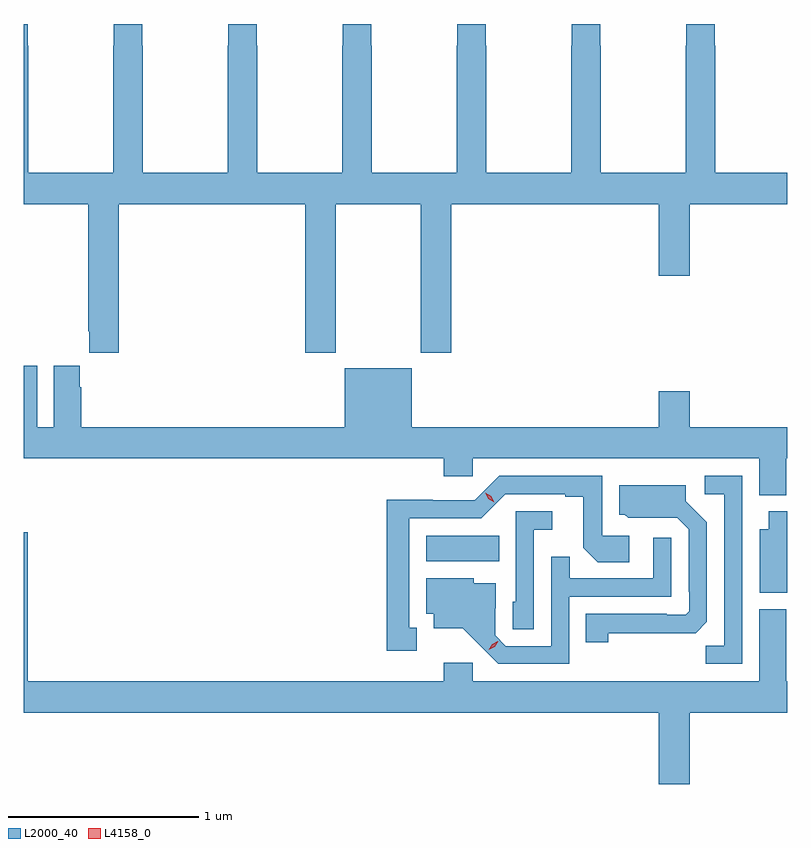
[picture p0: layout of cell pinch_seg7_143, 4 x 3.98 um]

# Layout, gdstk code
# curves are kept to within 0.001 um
import gdstk
lib = gdstk.Library(unit=1e-6, precision=1e-09)
def R(c, l, rs):  # rectangles x0, y0, x1, y1
    for r in rs: c.add(gdstk.rectangle(r[:2], r[2:], *l))
def P(c, l, *ps):  # polygons
    for p in ps: c.add(gdstk.Polygon(p, *l))
L2000_40 = (2000, 40)
L4158_0 = (4158, 0)

pinch_seg7_143 = lib.new_cell('pinch_seg7_143')
R(pinch_seg7_143, L2000_40, [(1038.914,1018.724,1039.298,1018.858)])
P(pinch_seg7_143, L2000_40, [(1036.83,1021.427),(1036.827,1021.427),(1036.827,1021.54),(1036.806,1021.54),(1036.806,1020.596),(1037.143,1020.596),(1037.143,1019.929),(1037.149,1019.929),(1037.149,1019.817),(1037.303,1019.817),(1037.303,1020.596),(1038.281,1020.596),(1038.281,1019.817),(1038.441,1019.817),(1038.441,1020.596),(1038.886,1020.596),(1038.886,1019.817),(1039.046,1019.817),(1039.046,1020.596),(1040.132,1020.596),(1040.132,1020.222),(1040.296,1020.222),(1040.296,1020.596),(1040.806,1020.596),(1040.806,1020.76),(1040.43,1020.76),(1040.43,1021.427),(1040.427,1021.427),(1040.427,1021.54),(1040.277,1021.54),(1040.277,1021.427),(1040.275,1021.427),(1040.275,1020.76),(1039.83,1020.76),(1039.83,1021.427),(1039.827,1021.427),(1039.827,1021.54),(1039.677,1021.54),(1039.677,1021.427),(1039.675,1021.427),(1039.675,1020.76),(1039.23,1020.76),(1039.23,1021.427),(1039.227,1021.427),(1039.227,1021.54),(1039.077,1021.54),(1039.077,1021.427),(1039.075,1021.427),(1039.075,1020.76),(1038.63,1020.76),(1038.63,1021.427),(1038.627,1021.427),(1038.627,1021.54),(1038.477,1021.54),(1038.477,1021.427),(1038.475,1021.427),(1038.475,1020.76),(1038.03,1020.76),(1038.03,1021.427),(1038.027,1021.427),(1038.027,1021.54),(1037.877,1021.54),(1037.877,1021.427),(1037.875,1021.427),(1037.875,1020.76),(1037.43,1020.76),(1037.43,1021.427),(1037.427,1021.427),(1037.427,1021.54),(1037.277,1021.54),(1037.277,1021.427),(1037.275,1021.427),(1037.275,1020.76),(1036.83,1020.76)],
  [(1040.8,1019.264),(1040.806,1019.264),(1040.806,1019.428),(1040.296,1019.428),(1040.296,1019.617),(1040.132,1019.617),(1040.132,1019.428),(1038.838,1019.428),(1038.838,1019.737),(1038.488,1019.737),(1038.488,1019.428),(1037.108,1019.428),(1037.108,1019.636),(1037.098,1019.636),(1037.098,1019.749),(1036.964,1019.749),(1036.964,1019.428),(1036.876,1019.428),(1036.876,1019.749),(1036.806,1019.749),(1036.806,1019.264),(1039.007,1019.264),(1039.007,1019.171),(1039.158,1019.171),(1039.158,1019.264),(1040.66,1019.264),(1040.66,1019.072),(1040.8,1019.072)],
  [(1038.865,1018.377),(1038.826,1018.377),(1038.826,1018.95),(1039.203,1018.95),(1039.329,1019.076),(1039.643,1019.076),(1039.643,1019.064),(1039.737,1019.064),(1039.737,1018.796),(1039.813,1018.72),(1039.978,1018.72),(1039.978,1018.86),(1039.836,1018.86),(1039.836,1019.172),(1039.296,1019.172),(1039.17,1019.046),(1038.948,1019.046),(1038.948,1019.048),(1038.708,1019.048),(1038.708,1018.257),(1038.865,1018.257)],
  [(1040.571,1019.172),(1040.373,1019.172),(1040.373,1019.076),(1040.475,1019.076),(1040.475,1018.283),(1040.38,1018.283),(1040.38,1018.188),(1040.571,1018.188)],
  [(1039.869,1018.348),(1040.326,1018.349),(1040.385,1018.408),(1040.385,1018.93),(1040.275,1019.04),(1040.275,1019.122),(1039.925,1019.122),(1039.925,1018.968),(1039.956,1018.968),(1039.972,1018.952),(1040.229,1018.953),(1040.289,1018.893),(1040.289,1018.564),(1040.292,1018.564),(1040.292,1018.464),(1040.274,1018.446),(1040.174,1018.446),(1040.174,1018.449),(1039.75,1018.449),(1039.75,1018.302),(1039.869,1018.302)],
  [(1040.806,1018.987),(1040.708,1018.987),(1040.708,1018.894),(1040.663,1018.894),(1040.663,1018.559),(1040.806,1018.559)],
  [(1039.479,1018.889),(1039.576,1018.889),(1039.576,1018.986),(1039.383,1018.986),(1039.383,1018.512),(1039.368,1018.512),(1039.368,1018.369),(1039.479,1018.369)],
  [(1039.158,1018.192),(1039.007,1018.192),(1039.007,1018.096),(1036.826,1018.096),(1036.826,1018.876),(1036.806,1018.876),(1036.806,1017.932),(1040.132,1017.932),(1040.132,1017.558),(1040.296,1017.558),(1040.296,1017.932),(1040.806,1017.932),(1040.806,1018.096),(1040.8,1018.096),(1040.8,1018.474),(1040.66,1018.474),(1040.66,1018.096),(1039.158,1018.096)],
  [(1039.665,1018.539),(1040.199,1018.539),(1040.199,1018.849),(1040.103,1018.849),(1040.103,1018.635),(1039.667,1018.635),(1039.667,1018.748),(1039.569,1018.748),(1039.569,1018.281),(1039.332,1018.281),(1039.275,1018.338),(1039.275,1018.48),(1039.279,1018.48),(1039.279,1018.609),(1039.164,1018.609),(1039.164,1018.636),(1038.914,1018.636),(1038.914,1018.449),(1038.953,1018.449),(1038.953,1018.373),(1039.105,1018.373),(1039.292,1018.188),(1039.665,1018.188)])
P(pinch_seg7_143, L4158_0, [(1039.242,1018.261),(1039.242,1018.262),(1039.26,1018.291),(1039.29,1018.306),(1039.291,1018.306),(1039.291,1018.305),(1039.273,1018.276),(1039.243,1018.261)],
  [(1039.272,1019.033),(1039.24,1019.052),(1039.223,1019.084),(1039.223,1019.084),(1039.223,1019.084),(1039.255,1019.066),(1039.272,1019.033),(1039.272,1019.033)])

lib.write_gds('pinch_seg7_143.gds')
